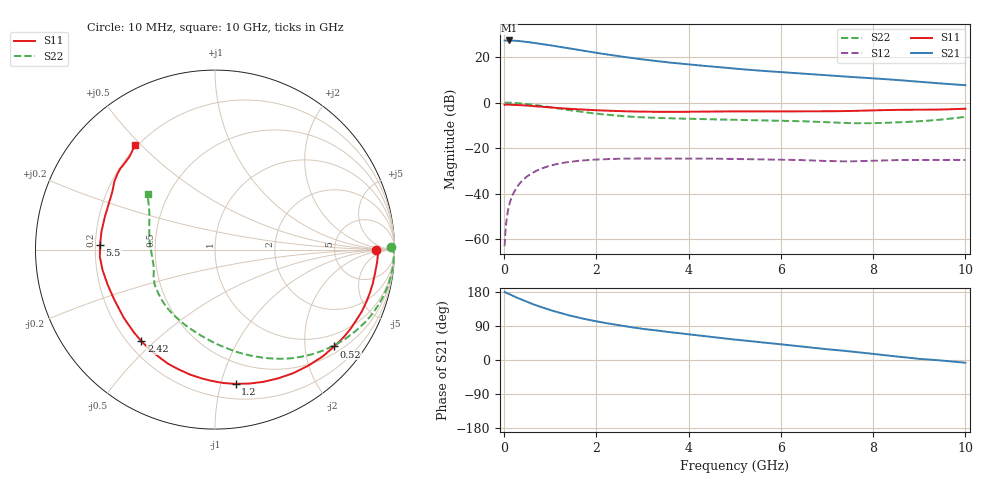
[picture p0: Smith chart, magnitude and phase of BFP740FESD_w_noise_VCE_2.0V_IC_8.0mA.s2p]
! Infineon Technologies  Discrete & RF Semiconductors
! BFP740FESD
! VCE =  2.0 V,  IC =  8.0 mA
! Common Emitter S-Parameters:  Jan 2016
# GHz  S  MA  R  50
!  f  S11  S21  S12  S22
! GHz  MAG  ANG  MAG  ANG  MAG  ANG  MAG  ANG
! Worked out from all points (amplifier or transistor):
!   233 points, 10 MHz to 10 GHz, reference 50 ohm
!   highest |S21| = 27.3 dB at 100 MHz (marker M1)
!   |S21| within 3 dB of that: start of sweep to 1.266 GHz
!   unconditionally stable (mu >= 1): 6.652 GHz to end of sweep
!   at 200 MHz: K = 0.03, MSG = 33.6 dB, |S12| = -39.9 dB
!   at 1.74 GHz: K = 0.26, MSG = 24.0 dB, |S12| = -25.4 dB
!   at 10 GHz: K = 1.38, MAG = 12.7 dB, |S12| = -25.2 dB
!   lowest NFmin = 0.56 dB at 450 MHz
!   S11 on the Smith chart (normalised r, x): 10 MHz: 18, +0; 520 MHz: 0.66, -2.67; 1.2 GHz: 0.32, -1.11; 2.42 GHz: 0.25, -0.45; 5.5 GHz: 0.22, +0.02; 10 GHz: 0.19, +0.48
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0.01  0.896 0.0  23.19 179.8  0.0007 101.3  0.9835 1.0
0.05  0.9064 -4.0  23.11 177.0  0.0026 88.2  0.9972 -2.6
0.1  0.9019 -7.8  23.21 174.6  0.0051 86.6  0.9958 -5.3
0.2  0.8961 -15.5  23.05 168.9  0.0101 81.4  0.9866 -10.7
0.26  0.8909 -20.2  22.75 165.4  0.013 78.6  0.9783 -13.8
0.38  0.8761 -29.1  22.22 159.2  0.0187 73.3  0.956 -19.9
0.52  0.8557 -39.1  21.39 152.3  0.0248 67.5  0.9239 -26.7
0.7  0.829 -51.5  20.24 144.0  0.0318 60.7  0.8776 -34.9
0.88  0.8011 -62.7  18.97 136.5  0.0378 54.5  0.8274 -42.4
1.2  0.7567 -81.3  16.86 124.6  0.046 44.8  0.7393 -55.0
1.4  0.7319 -91.4  15.56 118.0  0.0496 39.5  0.6875 -62.0
1.68  0.704 -103.8  13.99 110.0  0.0534 33.3  0.6272 -70.8
2  0.6797 -115.5  12.39 102.1  0.0562 27.6  0.5733 -79.6
2.42  0.6545 -128.8  10.71 92.9  0.0583 21.4  0.5197 -90.4
2.86  0.6365 -140.5  9.286 84.7  0.0591 16.4  0.4825 -100.1
3.4  0.6267 -151.4  7.966 76.4  0.0591 12.1  0.4581 -108.7
4.4  0.6342 -168.0  6.338 62.1  0.0588 6.7  0.4314 -122.0
5.1  0.6419 -177.4  5.473 52.7  0.0577 3.8  0.4173 -131.0
5.5  0.6414 177.7  5.072 47.6  0.0569 2.5  0.4096 -135.7
6.8  0.6417 159.8  4.111 31.1  0.053 0.3  0.3783 -154.1
8.4  0.69 141.5  3.204 10.8  0.0543 4.8  0.3639 175.3
10  0.7339 127.5  2.414 -7.3  0.0551 3.6  0.4856 140.7
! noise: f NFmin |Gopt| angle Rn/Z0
0.45  0.56  0.32  6  0.1
2.4  0.64  0.21  46  0.1
5.5  0.82  0.33  134  0.08
10  1.44  0.4  -138  0.12
